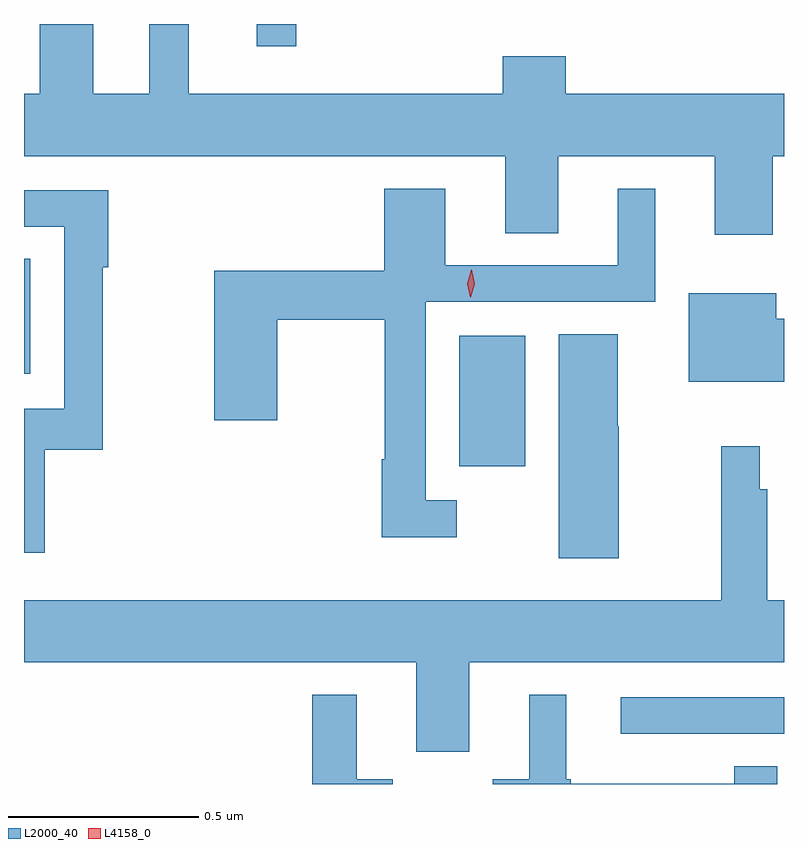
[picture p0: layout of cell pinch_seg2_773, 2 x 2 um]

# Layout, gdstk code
import gdstk
lib = gdstk.Library(unit=1e-6, precision=1e-09)
def R(c, l, rs):  # rectangles x0, y0, x1, y1
    for r in rs: c.add(gdstk.rectangle(r[:2], r[2:], *l))
def P(c, l, *ps):  # polygons
    for p in ps: c.add(gdstk.Polygon(p, *l))
L2000_40 = (2000, 40)
L4158_0 = (4158, 0)

pinch_seg2_773 = lib.new_cell('pinch_seg2_773')
R(pinch_seg2_773, L2000_40, [(647.709,650.112,648.139,650.208), (647.285,650.816,647.458,651.16), (646.139,651.059,646.156,651.362), (646.751,651.921,646.855,651.98)])
P(pinch_seg2_773, L2000_40, [(648.11,651.632),(648.139,651.632),(648.139,651.796),(647.564,651.796),(647.564,651.895),(647.399,651.895),(647.399,651.796),(646.573,651.796),(646.573,651.98),(646.469,651.98),(646.469,651.796),(646.321,651.796),(646.321,651.98),(646.181,651.98),(646.181,651.796),(646.139,651.796),(646.139,651.632),(647.405,651.632),(647.405,651.43),(647.545,651.43),(647.545,651.632),(647.957,651.632),(647.957,651.426),(648.11,651.426)],
  [(647.278,650.727),(647.196,650.727),(647.196,651.249),(647.8,651.249),(647.8,651.547),(647.702,651.547),(647.702,651.345),(647.248,651.345),(647.248,651.547),(647.087,651.547),(647.087,651.331),(646.64,651.331),(646.64,650.937),(646.806,650.937),(646.806,651.202),(647.088,651.202),(647.088,650.834),(647.08,650.834),(647.08,650.63),(647.278,650.63)],
  [(646.193,650.859),(646.346,650.859),(646.346,651.34),(646.361,651.34),(646.361,651.543),(646.139,651.543),(646.139,651.447),(646.245,651.447),(646.245,650.967),(646.139,650.967),(646.139,650.589),(646.193,650.589)],
  [(648.139,651.204),(648.118,651.204),(648.118,651.271),(647.888,651.271),(647.888,651.038),(648.139,651.038)],
  [(647.704,650.922),(647.701,650.922),(647.701,651.164),(647.546,651.164),(647.546,650.574),(647.704,650.574)],
  [(647.311,650.3),(648.139,650.3),(648.139,650.464),(648.095,650.464),(648.095,650.756),(648.075,650.756),(648.075,650.869),(647.974,650.869),(647.974,650.464),(646.139,650.464),(646.139,650.3),(647.171,650.3),(647.171,650.065),(647.311,650.065)],
  [(648.121,650.027),(648.008,650.027),(648.008,649.981),(647.578,649.981),(647.578,649.993),(647.566,649.993),(647.566,650.215),(647.468,650.215),(647.468,649.993),(647.372,649.993),(647.372,649.98),(648.121,649.98)],
  [(647.014,649.993),(647.014,650.215),(646.897,650.215),(646.897,649.98),(647.11,649.98),(647.11,649.993)])
P(pinch_seg2_773, L4158_0, [(647.313,651.261),(647.305,651.297),(647.316,651.333),(647.316,651.333),(647.317,651.333),(647.325,651.296),(647.314,651.261),(647.314,651.261)])

lib.write_gds('pinch_seg2_773.gds')
